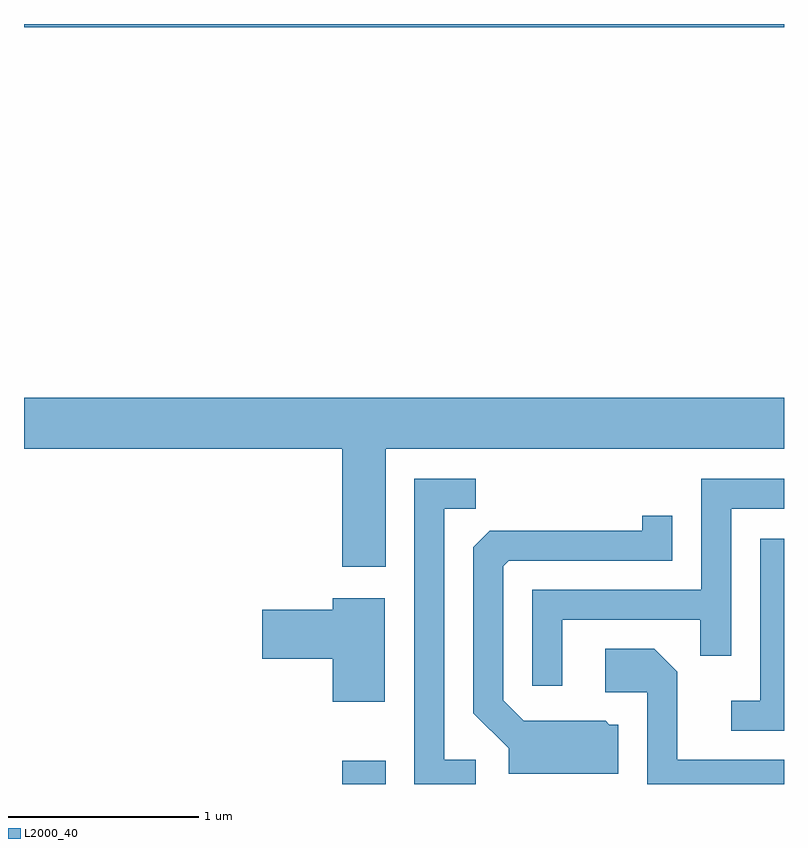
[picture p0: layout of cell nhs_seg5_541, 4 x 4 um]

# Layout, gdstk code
import gdstk
lib = gdstk.Library(unit=1e-6, precision=1e-09)
def R(c, l, rs):  # rectangles x0, y0, x1, y1
    for r in rs: c.add(gdstk.rectangle(r[:2], r[2:], *l))
def P(c, l, *ps):  # polygons
    for p in ps: c.add(gdstk.Polygon(p, *l))
L2000_40 = (2000, 40)

nhs_seg5_541 = lib.new_cell('nhs_seg5_541')
R(nhs_seg5_541, L2000_40, [(201.286,1526.072,201.514,1526.194), (199.611,1530.056,203.611,1530.072)])
P(nhs_seg5_541, L2000_40, [(201.514,1527.836),(203.611,1527.836),(203.611,1528.104),(199.611,1528.104),(199.611,1527.836),(201.286,1527.836),(201.286,1527.216),(201.514,1527.216)],
  [(201.988,1526.199),(201.824,1526.199),(201.824,1527.521),(201.988,1527.521),(201.988,1527.679),(201.666,1527.679),(201.666,1526.072),(201.988,1526.072)],
  [(202.444,1526.936),(203.171,1526.936),(203.171,1526.748),(203.334,1526.748),(203.334,1527.521),(203.611,1527.521),(203.611,1527.679),(203.176,1527.679),(203.176,1527.094),(202.286,1527.094),(202.286,1526.588),(202.444,1526.588)],
  [(202.739,1526.384),(202.692,1526.384),(202.672,1526.404),(202.242,1526.404),(202.134,1526.512),(202.134,1527.219),(202.162,1527.246),(203.024,1527.246),(203.024,1527.483),(202.866,1527.483),(202.866,1527.404),(202.062,1527.404),(201.976,1527.319),(201.976,1526.444),(202.161,1526.259),(202.161,1526.126),(202.739,1526.126)],
  [(203.611,1527.364),(203.486,1527.364),(203.486,1526.509),(203.333,1526.509),(203.333,1526.351),(203.611,1526.351)],
  [(201.509,1527.049),(201.236,1527.049),(201.236,1526.989),(200.866,1526.989),(200.866,1526.731),(201.236,1526.731),(201.236,1526.506),(201.509,1526.506)],
  [(203.611,1526.199),(203.049,1526.199),(203.049,1526.662),(202.927,1526.784),(202.671,1526.784),(202.671,1526.556),(202.891,1526.556),(202.891,1526.072),(203.611,1526.072)])

lib.write_gds('nhs_seg5_541.gds')
